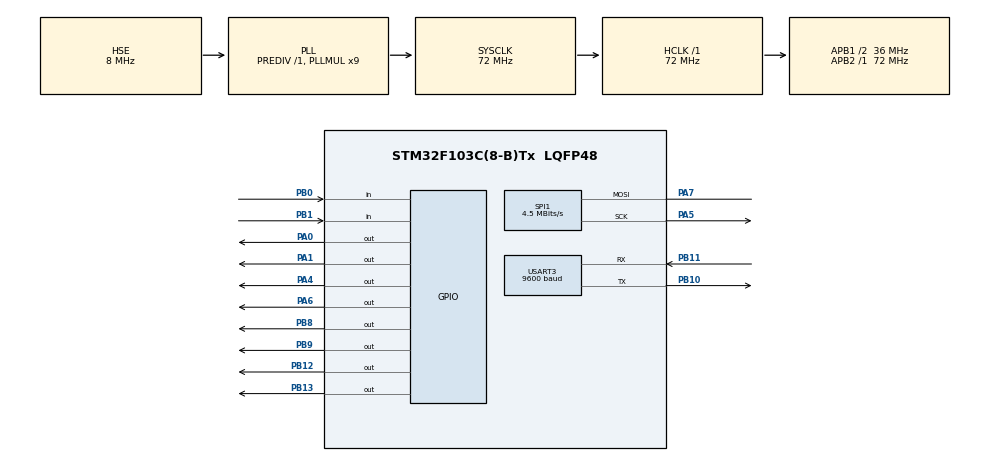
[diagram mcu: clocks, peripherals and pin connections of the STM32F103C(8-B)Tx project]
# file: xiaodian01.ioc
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Mcu.Family=STM32F1
Mcu.Name=STM32F103C(8-B)Tx
Mcu.Package=LQFP48
NVIC.PriorityGroup=NVIC_PRIORITYGROUP_4
NVIC.USART3_IRQn=true\:0\:0\:false\:false\:true\:true\:true\:true
PA0-WKUP.PinState=GPIO_PIN_SET
PA0-WKUP.Signal=GPIO_Output
PA1.PinState=GPIO_PIN_SET
PA1.Signal=GPIO_Output
PA13.Mode=Serial_Wire
PA13.Signal=SYS_JTMS-SWDIO
PA14.Mode=Serial_Wire
PA14.Signal=SYS_JTCK-SWCLK
PA4.Signal=GPIO_Output
PA5.Mode=Simplex_Bidirectional_Master
PA5.Signal=SPI1_SCK
PA6.Signal=GPIO_Output
PA7.Mode=Simplex_Bidirectional_Master
PA7.Signal=SPI1_MOSI
PB0.GPIO_Mode=GPIO_MODE_INPUT
PB0.GPIO_PuPd=GPIO_PULLUP
PB0.Signal=GPIO_Input
PB1.GPIO_Mode=GPIO_MODE_INPUT
PB1.GPIO_PuPd=GPIO_PULLUP
PB1.Signal=GPIO_Input
PB10.Mode=Asynchronous
PB10.Signal=USART3_TX
PB11.Mode=Asynchronous
PB11.Signal=USART3_RX
PB12.PinState=GPIO_PIN_SET
PB12.Signal=GPIO_Output
PB13.Signal=GPIO_Output
PB8.PinState=GPIO_PIN_SET
PB8.Signal=GPIO_Output
PB9.Signal=GPIO_Output
PD0-OSC_IN.Mode=HSE-External-Oscillator
PD0-OSC_IN.Signal=RCC_OSC_IN
PD1-OSC_OUT.Mode=HSE-External-Oscillator
PD1-OSC_OUT.Signal=RCC_OSC_OUT
ProjectManager.HeapSize=0x200
ProjectManager.StackSize=0x400
ProjectManager.TargetToolchain=MDK-ARM V5.32
RCC.AHBFreq_Value=72000000
RCC.APB1CLKDivider=RCC_HCLK_DIV2
RCC.APB1Freq_Value=36000000
RCC.APB1TimFreq_Value=72000000
RCC.APB2Freq_Value=72000000
RCC.APB2TimFreq_Value=72000000
RCC.HCLKFreq_Value=72000000
RCC.PLLMUL=RCC_PLL_MUL9
RCC.PLLSourceVirtual=RCC_PLLSOURCE_HSE
RCC.SYSCLKFreq_VALUE=72000000
RCC.SYSCLKSource=RCC_SYSCLKSOURCE_PLLCLK
RCC.USBFreq_Value=72000000
SPI1.BaudRatePrescaler=SPI_BAUDRATEPRESCALER_16
SPI1.CalculateBaudRate=4.5 MBits/s
SPI1.Direction=SPI_DIRECTION_1LINE
SPI1.Mode=SPI_MODE_MASTER
SPI1.VirtualType=VM_MASTER
USART3.BaudRate=9600
USART3.VirtualMode=VM_ASYNC
board=custom

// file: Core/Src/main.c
/* USER CODE BEGIN Header */
/**
  ******************************************************************************
  * @file           : main.c
  * @brief          : Main program body
  ******************************************************************************
  * @attention
  *
  * Copyright (c) 2026 STMicroelectronics.
  * All rights reserved.
  *
  * This software is licensed under terms that can be found in the LICENSE file
  * in the root directory of this software component.
  * If no LICENSE file comes with this software, it is provided AS-IS.
  *
  ******************************************************************************
  */
/* USER CODE END Header */
#include "main.h"
#include "spi.h"
#include "usart.h"
#include "gpio.h"

/* USER CODE BEGIN Includes */
#include "fun.h"
#include "lcd.h"
#include "ws2812.h"
#include "ld3320.h"
/* USER CODE END Includes */

/* USER CODE BEGIN PD */
extern uint8_t ld3320_rec_flag;
/* USER CODE END PD */

void SystemClock_Config(void);

/* USER CODE BEGIN 0 */

/**
 * @brief  串口接收中断回调函数
 */
void HAL_UART_RxCpltCallback(UART_HandleTypeDef *huart)
{
    if(huart->Instance == USART3)
    {

    }
}
/* USER CODE END 0 */

int main(void)
{

  /* MCU Configuration--------------------------------------------------------*/

  /* Reset of all peripherals, Initializes the Flash interface and the Systick. */
  HAL_Init();

  /* Configure the system clock */
  SystemClock_Config();

  /* Initialize all configured peripherals */
  MX_GPIO_Init();
  MX_USART3_UART_Init();
  MX_SPI1_Init();
  /* USER CODE BEGIN 2 */
    LCD_GPIO_Init();
    LCD_Init();
    LCD_Clear(0x0000);

  /* USER CODE END 2 */

  /* Infinite loop */
  /* USER CODE BEGIN WHILE */
  while (1)
  {

		WS2812_SetColor(255,0,0);
WS2812_SetColor(0,255,0);
WS2812_SetColor(0,0,255);
WS2812_SetColor(255,255,0);
WS2812_SetColor(0,255,255);
WS2812_SetColor(255,0,255);
WS2812_SetColor(255,255,255);
WS2812_SetColor(0,0,0);
WS2812_SetColor(0,0,0);
WS2812_SetColor(0,0,0);
		__disable_irq();
WS2812_Show();
 __enable_irq();

		key_scan();
  	LCD_ShowString(10, 10, (u8*)"HELLO", 0xFFFF, 0x0000, 16, 0);

    HAL_Delay(50);

    /* USER CODE END WHILE */

  }
}

void SystemClock_Config(void)
{
  RCC_OscInitTypeDef RCC_OscInitStruct = {0};
  RCC_ClkInitTypeDef RCC_ClkInitStruct = {0};

  /** Initializes the RCC Oscillators according to the specified parameters
  * in the RCC_OscInitTypeDef structure.
  */
  RCC_OscInitStruct.OscillatorType = RCC_OSCILLATORTYPE_HSE;
  RCC_OscInitStruct.HSEState = RCC_HSE_ON;
  RCC_OscInitStruct.HSEPredivValue = RCC_HSE_PREDIV_DIV1;
  RCC_OscInitStruct.HSIState = RCC_HSI_ON;
  RCC_OscInitStruct.PLL.PLLState = RCC_PLL_ON;
  RCC_OscInitStruct.PLL.PLLSource = RCC_PLLSOURCE_HSE;
  RCC_OscInitStruct.PLL.PLLMUL = RCC_PLL_MUL9;
  if (HAL_RCC_OscConfig(&RCC_OscInitStruct) != HAL_OK)
  {
    Error_Handler();
  }

  /** Initializes the CPU, AHB and APB buses clocks
  */
  RCC_ClkInitStruct.ClockType = RCC_CLOCKTYPE_HCLK|RCC_CLOCKTYPE_SYSCLK
                              |RCC_CLOCKTYPE_PCLK1|RCC_CLOCKTYPE_PCLK2;
  RCC_ClkInitStruct.SYSCLKSource = RCC_SYSCLKSOURCE_PLLCLK;
  RCC_ClkInitStruct.AHBCLKDivider = RCC_SYSCLK_DIV1;
  RCC_ClkInitStruct.APB1CLKDivider = RCC_HCLK_DIV2;
  RCC_ClkInitStruct.APB2CLKDivider = RCC_HCLK_DIV1;

  if (HAL_RCC_ClockConfig(&RCC_ClkInitStruct, FLASH_LATENCY_2) != HAL_OK)
  {
    Error_Handler();
  }
}

void Error_Handler(void)
{
  __disable_irq();
  while (1)
  {
  }
}
